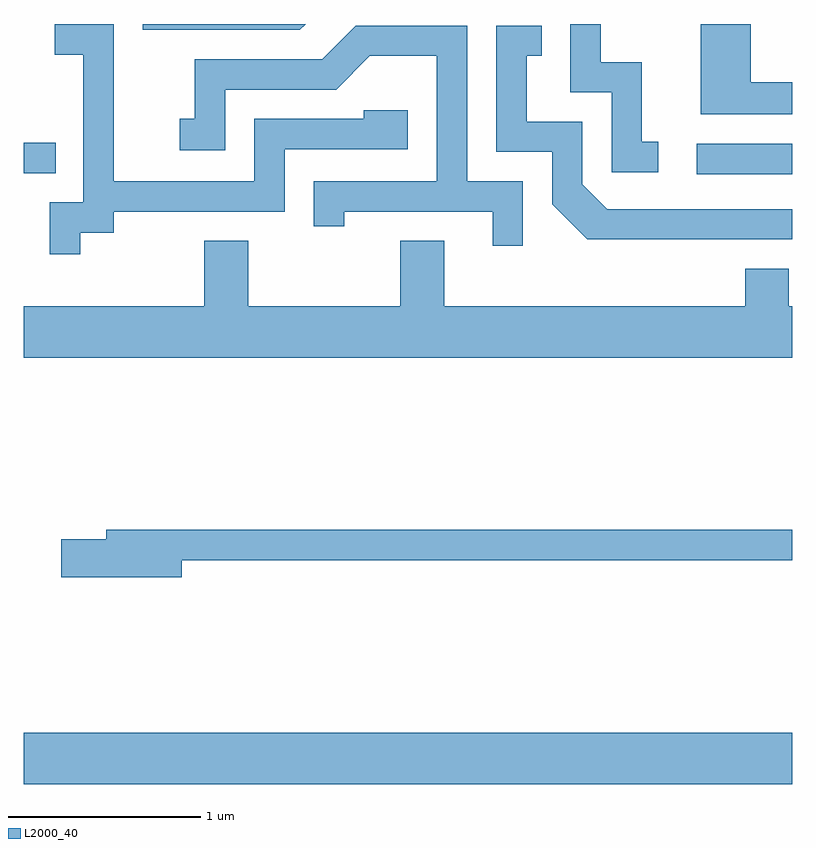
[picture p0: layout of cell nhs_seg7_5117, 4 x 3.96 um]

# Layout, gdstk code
import gdstk
lib = gdstk.Library(unit=1e-6, precision=1e-09)
def R(c, l, rs):  # rectangles x0, y0, x1, y1
    for r in rs: c.add(gdstk.rectangle(r[:2], r[2:], *l))
def P(c, l, *ps):  # polygons
    for p in ps: c.add(gdstk.Polygon(p, *l))
L2000_40 = (2000, 40)

nhs_seg7_5117 = lib.new_cell('nhs_seg7_5117')
R(nhs_seg7_5117, L2000_40, [(341.611,1734.296,345.611,1734.564), (345.113,1737.471,345.611,1737.629), (341.611,1737.476,341.778,1737.634)])
P(nhs_seg7_5117, L2000_40, [(343.078,1738.252),(342.231,1738.252),(342.231,1738.221),(343.047,1738.221)],
  [(344.913,1737.639),(344.829,1737.639),(344.829,1738.054),(344.614,1738.054),(344.614,1738.252),(344.456,1738.252),(344.456,1737.896),(344.671,1737.896),(344.671,1737.481),(344.913,1737.481)],
  [(341.904,1737.166),(342.079,1737.166),(342.079,1737.276),(342.969,1737.276),(342.969,1737.601),(343.609,1737.601),(343.609,1737.804),(343.381,1737.804),(343.381,1737.759),(342.811,1737.759),(342.811,1737.434),(342.079,1737.434),(342.079,1738.252),(341.771,1738.252),(341.771,1738.091),(341.921,1738.091),(341.921,1737.324),(341.746,1737.324),(341.746,1737.053),(341.904,1737.053)],
  [(345.611,1737.949),(345.394,1737.949),(345.394,1738.252),(345.136,1738.252),(345.136,1737.781),(345.611,1737.781)],
  [(345.611,1737.289),(344.647,1737.289),(344.519,1737.417),(344.519,1737.744),(344.229,1737.744),(344.229,1738.086),(344.308,1738.086),(344.308,1738.244),(344.071,1738.244),(344.071,1737.586),(344.361,1737.586),(344.361,1737.314),(344.544,1737.131),(345.611,1737.131)],
  [(344.209,1737.434),(343.919,1737.434),(343.919,1738.244),(343.339,1738.244),(343.164,1738.069),(342.501,1738.069),(342.501,1737.759),(342.423,1737.759),(342.423,1737.596),(342.659,1737.596),(342.659,1737.911),(343.237,1737.911),(343.412,1738.086),(343.761,1738.086),(343.761,1737.434),(343.121,1737.434),(343.121,1737.198),(343.279,1737.198),(343.279,1737.276),(344.051,1737.276),(344.051,1737.098),(344.209,1737.098)],
  [(345.611,1736.784),(345.594,1736.784),(345.594,1736.979),(345.366,1736.979),(345.366,1736.784),(343.799,1736.784),(343.799,1737.124),(343.571,1737.124),(343.571,1736.784),(342.779,1736.784),(342.779,1737.124),(342.551,1737.124),(342.551,1736.784),(341.611,1736.784),(341.611,1736.516),(345.611,1736.516)],
  [(342.434,1735.461),(345.611,1735.461),(345.611,1735.619),(342.041,1735.619),(342.041,1735.569),(341.806,1735.569),(341.806,1735.371),(342.434,1735.371)])

lib.write_gds('nhs_seg7_5117.gds')
